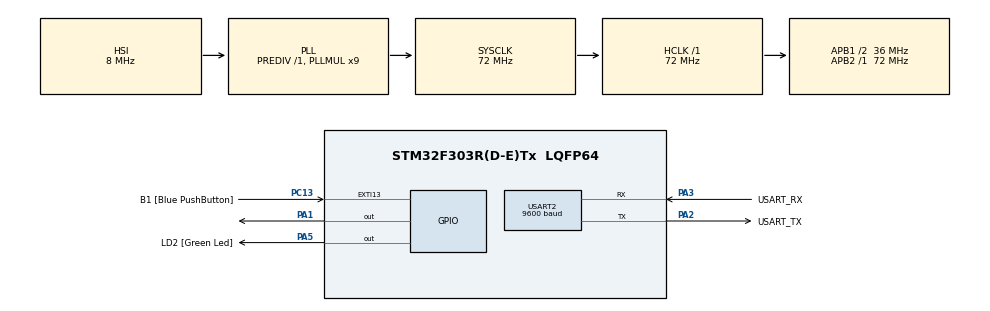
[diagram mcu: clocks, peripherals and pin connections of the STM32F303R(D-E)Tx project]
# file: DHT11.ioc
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Mcu.Family=STM32F3
Mcu.Name=STM32F303R(D-E)Tx
Mcu.Package=LQFP64
NVIC.PriorityGroup=NVIC_PRIORITYGROUP_0
PA1.Signal=GPIO_Output
PA13.GPIO_Label=TMS
PA13.Mode=Serial_Wire
PA13.Signal=SYS_JTMS-SWDIO
PA14.GPIO_Label=TCK
PA14.Mode=Serial_Wire
PA14.Signal=SYS_JTCK-SWCLK
PA2.GPIO_Label=USART_TX
PA2.GPIO_Mode=GPIO_MODE_AF_PP
PA2.GPIO_PuPd=GPIO_NOPULL
PA2.GPIO_Speed=GPIO_SPEED_FREQ_LOW
PA2.Mode=Asynchronous
PA2.Signal=USART2_TX
PA3.GPIO_Label=USART_RX
PA3.GPIO_Mode=GPIO_MODE_AF_PP
PA3.GPIO_PuPd=GPIO_NOPULL
PA3.GPIO_Speed=GPIO_SPEED_FREQ_LOW
PA3.Mode=Asynchronous
PA3.Signal=USART2_RX
PA5.GPIO_Label=LD2 [Green Led]
PA5.GPIO_Mode=GPIO_MODE_OUTPUT_PP
PA5.GPIO_PuPd=GPIO_NOPULL
PA5.GPIO_Speed=GPIO_SPEED_FREQ_LOW
PA5.Signal=GPIO_Output
PB3.GPIO_Label=SWO
PB3.Signal=SYS_JTDO-TRACESWO
PC13.GPIO_Label=B1 [Blue PushButton]
PC13.GPIO_ModeDefaultEXTI=GPIO_MODE_IT_FALLING
PC13.Signal=GPXTI13
PC14-OSC32_IN.Mode=LSE-External-Oscillator
PC14-OSC32_IN.Signal=RCC_OSC32_IN
PC15-OSC32_OUT.Mode=LSE-External-Oscillator
PC15-OSC32_OUT.Signal=RCC_OSC32_OUT
PF0-OSC_IN.Mode=HSE-External-Oscillator
PF0-OSC_IN.Signal=RCC_OSC_IN
PF1-OSC_OUT.Mode=HSE-External-Oscillator
PF1-OSC_OUT.Signal=RCC_OSC_OUT
ProjectManager.HeapSize=0x200
ProjectManager.StackSize=0x400
ProjectManager.TargetToolchain=STM32CubeIDE
RCC.AHBFreq_Value=72000000
RCC.APB1CLKDivider=RCC_HCLK_DIV2
RCC.APB1Freq_Value=36000000
RCC.APB1TimFreq_Value=72000000
RCC.APB2Freq_Value=72000000
RCC.APB2TimFreq_Value=72000000
RCC.CortexFreq_Value=72000000
RCC.HCLKFreq_Value=72000000
RCC.HSI_VALUE=8000000
RCC.PLLM=8
RCC.PLLMUL=RCC_PLL_MUL9
RCC.PLLN=336
RCC.PLLP=RCC_PLLP_DIV4
RCC.PLLQ=7
RCC.RCC_PLLsource_Clock_Source_FROM_HSE=RCC_HSE_PREDIV_DIV2
RCC.SYSCLKFreq_VALUE=72000000
RCC.SYSCLKSourceVirtual=RCC_SYSCLKSOURCE_PLLCLK
RCC.USBFreq_Value=72000000
TIM1.Prescaler=71
USART2.BaudRate=9600
USART2.VirtualMode-Asynchronous=VM_ASYNC
VP_TIM1_VS_ClockSourceINT.Mode=Internal
board=NUCLEO-F303RE

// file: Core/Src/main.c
/* USER CODE BEGIN Header */
/**
  ******************************************************************************
  * @file           : main.c
  * @brief          : Main program body
  ******************************************************************************
  * @attention
  *
  * Copyright (c) 2025 STMicroelectronics.
  * All rights reserved.
  *
  * This software is licensed under terms that can be found in the LICENSE file
  * in the root directory of this software component.
  * If no LICENSE file comes with this software, it is provided AS-IS.
  *
  ******************************************************************************
  */
/* USER CODE END Header */
#include "main.h"

/* USER CODE BEGIN PD */
#define DHT11_GPIO_PORT GPIOA
#define DHT11_GPIO_PIN GPIO_PIN_1
#define PRINTF2UART2 int __io_putchar(int ch)
/* USER CODE END PD */

TIM_HandleTypeDef htim1;

UART_HandleTypeDef huart2;

uint8_t data[5];

void SystemClock_Config(void);
static void MX_GPIO_Init(void);
static void MX_USART2_UART_Init(void);
static void MX_TIM1_Init(void);
/* USER CODE BEGIN PFP */
void DHT11_ReadData(float *temperature, float *humidity);
uint8_t check_response(void);
void start_signal (void);
void delay_us ( uint16_t us);
uint8_t read_byte(void);
void process_sensor_data(void);

char msg[50] ;
char message1[16];
char message1[16];
uint8_t TOUT =0 , CheckSum , i;
uint8_t T_Byte1 , T_Byte2 , RH_Byte1 , RH_Byte2 ;

/* USER CODE END PFP */

int main(void)
{
  /* USER CODE BEGIN 1 */
  float temperature, humidity;
  /* USER CODE END 1 */

  /* MCU Configuration--------------------------------------------------------*/

  /* Reset of all peripherals, Initializes the Flash interface and the Systick. */
  HAL_Init();

  /* Configure the system clock */
  SystemClock_Config();

  /* Initialize all configured peripherals */
  MX_GPIO_Init();
  MX_USART2_UART_Init();
  MX_TIM1_Init();
  /* USER CODE BEGIN 2 */
  HAL_TIM_Base_Start(&htim1);
  printf("Initilization complet \n\r");
  /* USER CODE END 2 */

  /* Infinite loop */
  while (1)
  {

    //DHT11_ReadData(&temperature, &humidity);
    // print temperature and humidity values
    //printf("START ======>\n ");
    //printf("Temperature: %.1fC\r\n", temperature);
    //printf("Humidity: %.1f%%\r\n", humidity);

    // wait for 1 second
    HAL_Delay(1000);
    start_signal();
    uint8_t check = check_response();
	  if (!check){
		  printf("No responce from the sensor \r\n");
	  } else {
		  printf("process sensor data \r\n");
		  process_sensor_data();
	  }

  }
}

/* USER CODE BEGIN 4 */

PRINTF2UART2
{
  HAL_UART_Transmit(&huart2, (uint8_t *)&ch, 1, 0xFFFF);

  return ch;
}

/* USER CODE END 4 */

void SystemClock_Config(void)
{
  RCC_OscInitTypeDef RCC_OscInitStruct = {0};
  RCC_ClkInitTypeDef RCC_ClkInitStruct = {0};
  RCC_PeriphCLKInitTypeDef PeriphClkInit = {0};

  /** Initializes the RCC Oscillators according to the specified parameters
  * in the RCC_OscInitTypeDef structure.
  */
  RCC_OscInitStruct.OscillatorType = RCC_OSCILLATORTYPE_HSI;
  RCC_OscInitStruct.HSIState = RCC_HSI_ON;
  RCC_OscInitStruct.HSICalibrationValue = RCC_HSICALIBRATION_DEFAULT;
  RCC_OscInitStruct.PLL.PLLState = RCC_PLL_ON;
  RCC_OscInitStruct.PLL.PLLSource = RCC_PLLSOURCE_HSI;
  RCC_OscInitStruct.PLL.PLLMUL = RCC_PLL_MUL9;
  RCC_OscInitStruct.PLL.PREDIV = RCC_PREDIV_DIV1;
  if (HAL_RCC_OscConfig(&RCC_OscInitStruct) != HAL_OK)
  {
    Error_Handler();
  }

  /** Initializes the CPU, AHB and APB buses clocks
  */
  RCC_ClkInitStruct.ClockType = RCC_CLOCKTYPE_HCLK|RCC_CLOCKTYPE_SYSCLK
                              |RCC_CLOCKTYPE_PCLK1|RCC_CLOCKTYPE_PCLK2;
  RCC_ClkInitStruct.SYSCLKSource = RCC_SYSCLKSOURCE_PLLCLK;
  RCC_ClkInitStruct.AHBCLKDivider = RCC_SYSCLK_DIV1;
  RCC_ClkInitStruct.APB1CLKDivider = RCC_HCLK_DIV2;
  RCC_ClkInitStruct.APB2CLKDivider = RCC_HCLK_DIV1;

  if (HAL_RCC_ClockConfig(&RCC_ClkInitStruct, FLASH_LATENCY_2) != HAL_OK)
  {
    Error_Handler();
  }
  PeriphClkInit.PeriphClockSelection = RCC_PERIPHCLK_USART2|RCC_PERIPHCLK_TIM1;
  PeriphClkInit.Usart2ClockSelection = RCC_USART2CLKSOURCE_PCLK1;
  PeriphClkInit.Tim1ClockSelection = RCC_TIM1CLK_HCLK;
  if (HAL_RCCEx_PeriphCLKConfig(&PeriphClkInit) != HAL_OK)
  {
    Error_Handler();
  }
}

static void MX_TIM1_Init(void)
{

  TIM_ClockConfigTypeDef sClockSourceConfig = {0};
  TIM_MasterConfigTypeDef sMasterConfig = {0};

  htim1.Instance = TIM1;
  htim1.Init.Prescaler = 71;
  htim1.Init.CounterMode = TIM_COUNTERMODE_UP;
  htim1.Init.Period = 65535;
  htim1.Init.ClockDivision = TIM_CLOCKDIVISION_DIV1;
  htim1.Init.RepetitionCounter = 0;
  htim1.Init.AutoReloadPreload = TIM_AUTORELOAD_PRELOAD_DISABLE;
  if (HAL_TIM_Base_Init(&htim1) != HAL_OK)
  {
    Error_Handler();
  }
  sClockSourceConfig.ClockSource = TIM_CLOCKSOURCE_INTERNAL;
  if (HAL_TIM_ConfigClockSource(&htim1, &sClockSourceConfig) != HAL_OK)
  {
    Error_Handler();
  }
  sMasterConfig.MasterOutputTrigger = TIM_TRGO_RESET;
  sMasterConfig.MasterOutputTrigger2 = TIM_TRGO2_RESET;
  sMasterConfig.MasterSlaveMode = TIM_MASTERSLAVEMODE_DISABLE;
  if (HAL_TIMEx_MasterConfigSynchronization(&htim1, &sMasterConfig) != HAL_OK)
  {
    Error_Handler();
  }

}

static void MX_USART2_UART_Init(void)
{

  huart2.Instance = USART2;
  huart2.Init.BaudRate = 9600;
  huart2.Init.WordLength = UART_WORDLENGTH_8B;
  huart2.Init.StopBits = UART_STOPBITS_1;
  huart2.Init.Parity = UART_PARITY_NONE;
  huart2.Init.Mode = UART_MODE_TX_RX;
  huart2.Init.HwFlowCtl = UART_HWCONTROL_NONE;
  huart2.Init.OverSampling = UART_OVERSAMPLING_16;
  huart2.Init.OneBitSampling = UART_ONE_BIT_SAMPLE_DISABLE;
  huart2.AdvancedInit.AdvFeatureInit = UART_ADVFEATURE_NO_INIT;
  if (HAL_UART_Init(&huart2) != HAL_OK)
  {
    Error_Handler();
  }

}

static void MX_GPIO_Init(void)
{
  GPIO_InitTypeDef GPIO_InitStruct = {0};

  /* GPIO Ports Clock Enable */
  __HAL_RCC_GPIOC_CLK_ENABLE();
  __HAL_RCC_GPIOF_CLK_ENABLE();
  __HAL_RCC_GPIOA_CLK_ENABLE();
  __HAL_RCC_GPIOB_CLK_ENABLE();

  /*Configure GPIO pin Output Level */
  HAL_GPIO_WritePin(GPIOA, GPIO_PIN_1|LD2_Pin, GPIO_PIN_RESET);

  /*Configure GPIO pin : B1_Pin */
  GPIO_InitStruct.Pin = B1_Pin;
  GPIO_InitStruct.Mode = GPIO_MODE_IT_FALLING;
  GPIO_InitStruct.Pull = GPIO_NOPULL;
  HAL_GPIO_Init(B1_GPIO_Port, &GPIO_InitStruct);

  /*Configure GPIO pins : PA1 LD2_Pin */
  GPIO_InitStruct.Pin = GPIO_PIN_1|LD2_Pin;
  GPIO_InitStruct.Mode = GPIO_MODE_OUTPUT_PP;
  GPIO_InitStruct.Pull = GPIO_NOPULL;
  GPIO_InitStruct.Speed = GPIO_SPEED_FREQ_LOW;
  HAL_GPIO_Init(GPIOA, &GPIO_InitStruct);

}

void Error_Handler(void)
{
  __disable_irq();
  while (1)
  {
  }
}

// function to read data from DHT11
void DHT11_ReadData1(float *temperature, float *humidity)
{
    uint8_t i;
    printf("Start reading data: \n");
    // send start signal
    HAL_GPIO_WritePin(DHT11_GPIO_PORT, DHT11_GPIO_PIN, GPIO_PIN_RESET);
    HAL_Delay(18);
    HAL_GPIO_WritePin(DHT11_GPIO_PORT, DHT11_GPIO_PIN, GPIO_PIN_SET);

    // wait for response
    HAL_Delay(40);

    // initialize data array
    memset(data, 0, sizeof(data));

    // read 40 bits of data
    for(i=0; i<40; i++)
    {
        // wait for low pulse
        while(!HAL_GPIO_ReadPin(DHT11_GPIO_PORT, DHT11_GPIO_PIN));

        // wait for high pulse
        uint32_t t = 0;
        while(HAL_GPIO_ReadPin(DHT11_GPIO_PORT, DHT11_GPIO_PIN))
        {
        	printf("HAL_GPIO_ReadPin is HIGH == \n", HAL_GPIO_ReadPin(DHT11_GPIO_PORT, DHT11_GPIO_PIN));
            t++;
            HAL_Delay(1);
        }

        // store bit value in data array
        if(t > 30)
            data[i/8] |= (1 << (7 - (i % 8)));
    }

    // verify checksum
    if(data[4] == (data[0] + data[1] + data[2] + data[3]))
    {
        // convert temperature and humidity values
        *humidity = (data[0] << 8 | data[1]) / 10.0;
        *temperature = ((data[2] & 0x7F) << 8 | data[3]) / 10.0;
        if (data[2] & 0x80) *temperature *= -1;
    }
}

void DHT11_ReadData2(float *temperature, float *humidity)
{
    uint8_t i; // Loop index for reading 40 bits
    printf("Starting DHT11 data read...\n");

    // Step 1: Send start signal
    printf("Sending start signal to DHT11...\n");
    HAL_GPIO_WritePin(DHT11_GPIO_PORT, DHT11_GPIO_PIN, GPIO_PIN_RESET); // Set pin LOW
    HAL_Delay(18); // Hold LOW for at least 18ms
    HAL_GPIO_WritePin(DHT11_GPIO_PORT, DHT11_GPIO_PIN, GPIO_PIN_SET);   // Set pin HIGH
    printf("Start signal sent. Waiting for DHT11 response...\n");

    // Step 2: Wait for the sensor to respond
    HAL_Delay(40); // Sensor typically needs time for response

    // Step 3: Clear data buffer before reading
    printf("Clearing the data buffer...\n");
    memset(data, 0, sizeof(data));

    printf("Reading 40 bits from the DHT11 sensor...\n");
    // Step 4: Read 40 bits from the sensor
    for(i = 0; i < 40; i++)
    {
        // Wait for a low pulse indicating the start of a bit
        printf("Waiting for low pulse for bit %d...\n", i + 1);
        while(!HAL_GPIO_ReadPin(DHT11_GPIO_PORT, DHT11_GPIO_PIN)); // Wait for pin to go HIGH

        // Measure duration of the high pulse
        uint32_t t = 0; // Pulse duration counter
        printf("Measuring high pulse duration for bit %d...\n", i + 1);

        while(HAL_GPIO_ReadPin(DHT11_GPIO_PORT, DHT11_GPIO_PIN)) // Stay in loop while pin is HIGH
        {
        	printf("HAL_GPIO_ReadPin == \n", HAL_GPIO_ReadPin(DHT11_GPIO_PORT, DHT11_GPIO_PIN));
            t++;
            HAL_Delay(1); // Small delay to match timing (adjustable for microcontroller clock)
        }

        // Determine if the bit is 0 or 1 based on pulse duration
        if(t > 30) // Adjust threshold if necessary
        {
            data[i / 8] |= (1 << (7 - (i % 8))); // Set the corresponding bit in the byte
            printf("Bit %d: 1 (t = %lu)\n", i + 1, t);
        }
        else
        {
            printf("Bit %d: 0 (t = %lu)\n", i + 1, t);
        }
    }

    // Step 5: Verify the checksum to ensure data integrity
    printf("Verifying checksum...\n");
    uint8_t checksum = data[0] + data[1] + data[2] + data[3];
    if(data[4] == checksum)
    {
        printf("Checksum valid: 0x%X (received) == 0x%X (calculated)\n", data[4], checksum);

        // Convert humidity and temperature data
        *humidity = (data[0] << 8 | data[1]) / 10.0; // Combine two bytes for humidity
        *temperature = ((data[2] & 0x7F) << 8 | data[3]) / 10.0; // Combine two bytes for temperature

        // Handle negative temperatures
        if(data[2] & 0x80) *temperature *= -1;

        printf("Data read successfully:\n");
        printf("Humidity: %.1f%%\n", *humidity);
        printf("Temperature: %.1f°C\n", *temperature);
    }
    else
    {
        // If checksum fails, print error and reset output values
        printf("Checksum failed! 0x%X (received) != 0x%X (calculated)\n", data[4], checksum);
        *humidity = 0;
        *temperature = 0;
    }

    printf("DHT11 data read complete.\n");
}
void DHT11_ReadData(float *temperature, float *humidity)
{
    uint8_t i; // Loop index for reading 40 bits
    printf("Starting DHT11 data read...\r\n");

    // Step 1: Send start signal
    printf("Sending start signal to DHT11...\r\n");
    HAL_GPIO_WritePin(DHT11_GPIO_PORT, DHT11_GPIO_PIN, GPIO_PIN_RESET); // Set pin LOW
    HAL_Delay(18); // Hold LOW for at least 18ms
    HAL_GPIO_WritePin(DHT11_GPIO_PORT, DHT11_GPIO_PIN, GPIO_PIN_SET);   // Set pin HIGH
    printf("Start signal sent. Waiting for DHT11 response...\r\n");

    // Step 2: Wait for the sensor to respond
    HAL_Delay(40); // Sensor typically needs time for response

    // Step 3: Clear data buffer before reading
    printf("Clearing the data buffer...\r\n");
    memset(data, 0, sizeof(data));

    printf("Reading 40 bits from the DHT11 sensor...\r\n");
    // Step 4: Read 40 bits from the sensor
    for(i = 0; i < 40; i++)
    {
        // Wait for a low pulse indicating the start of a bit
        printf("Waiting for low pulse for bit %d...\r\n", i + 1);
        while(!HAL_GPIO_ReadPin(DHT11_GPIO_PORT, DHT11_GPIO_PIN)); // Wait for pin to go HIGH

        // Measure duration of the high pulse
        uint32_t t = 0; // Pulse duration counter
        printf("Measuring high pulse duration for bit %d...\r\n", i + 1);
        while(HAL_GPIO_ReadPin(DHT11_GPIO_PORT, DHT11_GPIO_PIN)) // Stay in loop while pin is HIGH
        {
        	printf("t =  %d...\r\n", t);
            t++;
            HAL_Delay(1); // Small delay to match timing (adjustable for microcontroller clock)
        }

        // Determine if the bit is 0 or 1 based on pulse duration
        if(t > 30) // Adjust threshold if necessary
        {
            data[i / 8] |= (1 << (7 - (i % 8))); // Set the corresponding bit in the byte
            printf("Bit %d: 1 (t = %lu)\r\n", i + 1, t);
        }
        else
        {
            printf("Bit %d: 0 (t = %lu)\r\n", i + 1, t);
        }
    }

    // Step 5: Verify the checksum to ensure data integrity
    printf("Verifying checksum...\r\n");
    uint8_t checksum = data[0] + data[1] + data[2] + data[3];
    if(data[4] == checksum)
    {
        printf("Checksum valid: 0x%X (received) == 0x%X (calculated)\r\n", data[4], checksum);

        // Convert humidity and temperature data
        *humidity = (data[0] << 8 | data[1]) / 10.0; // Combine two bytes for humidity
        *temperature = ((data[2] & 0x7F) << 8 | data[3]) / 10.0; // Combine two bytes for temperature

        // Handle negative temperatures
        if(data[2] & 0x80) *temperature *= -1;

        printf("Data read successfully:\r\n");
        printf("Humidity: %.1f%%\r\n", *humidity);
        printf("Temperature: %.1f°C\r\n", *temperature);
    }
    else
    {
        // If checksum fails, print error and reset output values
        printf("Checksum failed! 0x%X (received) != 0x%X (calculated)\r\n", data[4], checksum);
        *humidity = 0;
        *temperature = 0;
    }

    printf("DHT11 data read complete.\r\n");
}

void start_signal (void){
     GPIO_InitTypeDef GPIO_InitStruct = {0};

      GPIO_InitStruct.Pin = DHT11_GPIO_PIN;
      GPIO_InitStruct.Mode = GPIO_MODE_OUTPUT_PP;
      GPIO_InitStruct.Pull = GPIO_NOPULL;
      GPIO_InitStruct.Speed = GPIO_SPEED_FREQ_LOW;
      HAL_GPIO_Init(DHT11_GPIO_PORT, &GPIO_InitStruct);

      HAL_GPIO_WritePin(DHT11_GPIO_PORT, DHT11_GPIO_PIN, GPIO_PIN_RESET);
      HAL_Delay(18);
      HAL_GPIO_WritePin(DHT11_GPIO_PORT, DHT11_GPIO_PIN, GPIO_PIN_SET);
      delay_us(30);

      GPIO_InitStruct.Mode = GPIO_MODE_INPUT;
      HAL_GPIO_Init(DHT11_GPIO_PORT, &GPIO_InitStruct);

}
void delay_us ( uint16_t us)
{
    __HAL_TIM_SET_COUNTER(&htim1,0);
    while(__HAL_TIM_GET_COUNTER(&htim1) < us);
}

uint8_t check_response(void){
    TOUT=0;
    __HAL_TIM_SET_COUNTER(&htim1,0);
    while(!HAL_GPIO_ReadPin(DHT11_GPIO_PORT, DHT11_GPIO_PIN) && (__HAL_TIM_GET_COUNTER(&htim1) < 100)) {};
    if(__HAL_TIM_GET_COUNTER(&htim1)>= 100){
        return 0; //timeout
    }
    while(HAL_GPIO_ReadPin(DHT11_GPIO_PORT, DHT11_GPIO_PIN) && (__HAL_TIM_GET_COUNTER(&htim1) < 100)) {};
        if(__HAL_TIM_GET_COUNTER(&htim1)>= 100){
            return 0; //timeout
        }
    return 1;
}

uint8_t read_byte(void){
    uint8_t num =0 ;
    for(i=0 ;i<8; i++){
        while(!HAL_GPIO_ReadPin(DHT11_GPIO_PORT, DHT11_GPIO_PIN))  {};
        __HAL_TIM_SET_COUNTER(&htim1,0);
        while(HAL_GPIO_ReadPin(DHT11_GPIO_PORT, DHT11_GPIO_PIN))  {};
        if(__HAL_TIM_GET_COUNTER(&htim1) > 40)
        {
            num |= (1 << (7 - i));
        }

    }
    return num;
}

void process_sensor_data(void){
    RH_Byte1 = read_byte();
    RH_Byte2 = read_byte();
    T_Byte1 = read_byte();
    T_Byte2 = read_byte();
    CheckSum = read_byte();

    uint8_t humidity_integer =  RH_Byte1 ;
    uint8_t humidity_decimal =  RH_Byte2 / 10 ;

    uint8_t temperature_integer =  T_Byte1 ;
    uint8_t temperature_decimal =  T_Byte2 / 10 ;

    if(CheckSum ==((RH_Byte1+RH_Byte2 +T_Byte1+T_Byte2)& 0xff)){
        snprintf(msg,sizeof(msg),"RH = %d.%d %%\r\n",humidity_integer,humidity_decimal);
        printf(msg);
        snprintf(msg,sizeof(msg),"temp = %d.%d C\r\n",temperature_integer,temperature_decimal);
        printf(msg);

    }else
    {
        printf("Checksum Errors ! Trying Again ...\r\n");
    }
}
